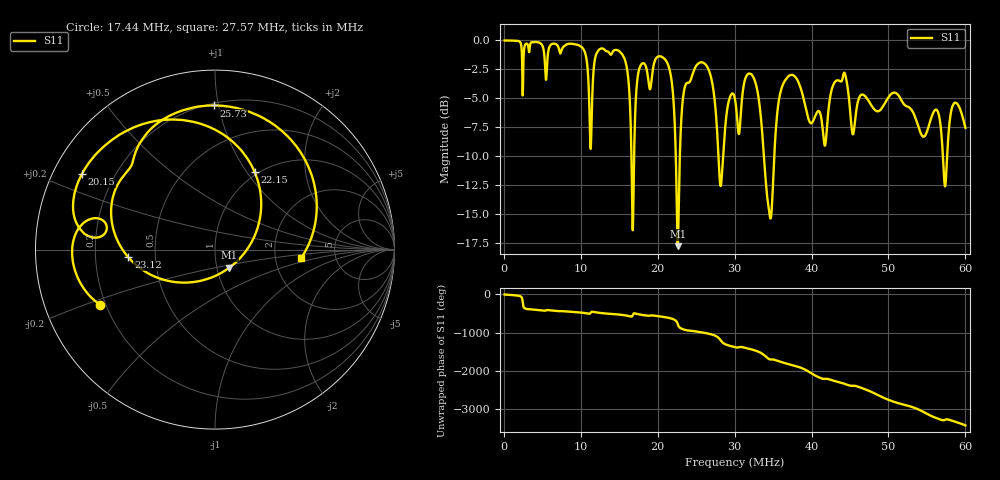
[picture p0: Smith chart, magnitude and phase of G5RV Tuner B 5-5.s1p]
# Hz S RI R 50
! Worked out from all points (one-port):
!   3030 points, 100 kHz to 60 MHz, reference 50 ohm
!   lowest |S11| = -17.8 dB at 22.6 MHz (marker M1), VSWR 1.30, Z = 57.3 - j11.8 ohm
!   |S11| at or under -10 dB: 27.9 MHz to 28.5 MHz (606.6 kHz wide, 2.15 % of centre); 33.8 MHz to 35.15 MHz (1.352 MHz wide, 3.92 % of centre); 57.07 MHz to 57.63 MHz (556 kHz wide, 0.969 % of centre)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
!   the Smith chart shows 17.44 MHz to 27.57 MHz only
!   S11 on the Smith chart (normalised r, x): 17.44 MHz: 0.18, -0.22; 20.15 MHz: 0.08, +0.26; 22.15 MHz: 0.96, +1.09; 23.12 MHz: 0.35, -0.04; 25.73 MHz: 0.21, +0.97; 27.57 MHz: 2.81, -0.35
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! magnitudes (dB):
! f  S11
! 100 kHz  0.0
! 7.595 MHz  -0.7
! 10.4 MHz  -0.8
! 11.29 MHz  -9.4
! 12.14 MHz  -1.0
! 15.09 MHz  -1.0
! 16.08 MHz  -2.8
! 16.75 MHz  -16.4
! 17.44 MHz  -3.0
! 20.15 MHz  -1.4
! 22.15 MHz  -6.3
! 22.56 MHz  -17.2
! 22.6 MHz  -17.8
! 23.12 MHz  -6.3
! 25.73 MHz  -1.9
! 27.57 MHz  -6.3
! 28.22 MHz  -12.6
! 30.06 MHz  -5.1
! 32.65 MHz  -3.5
! 34.59 MHz  -15.3
! 35.81 MHz  -4.9
! 37.55 MHz  -3.0
! 45.03 MHz  -6.2
! 52.52 MHz  -5.7
! 56.34 MHz  -6.1
! 57.35 MHz  -12.6
! 58.4 MHz  -5.6
! 60 MHz  -7.6
